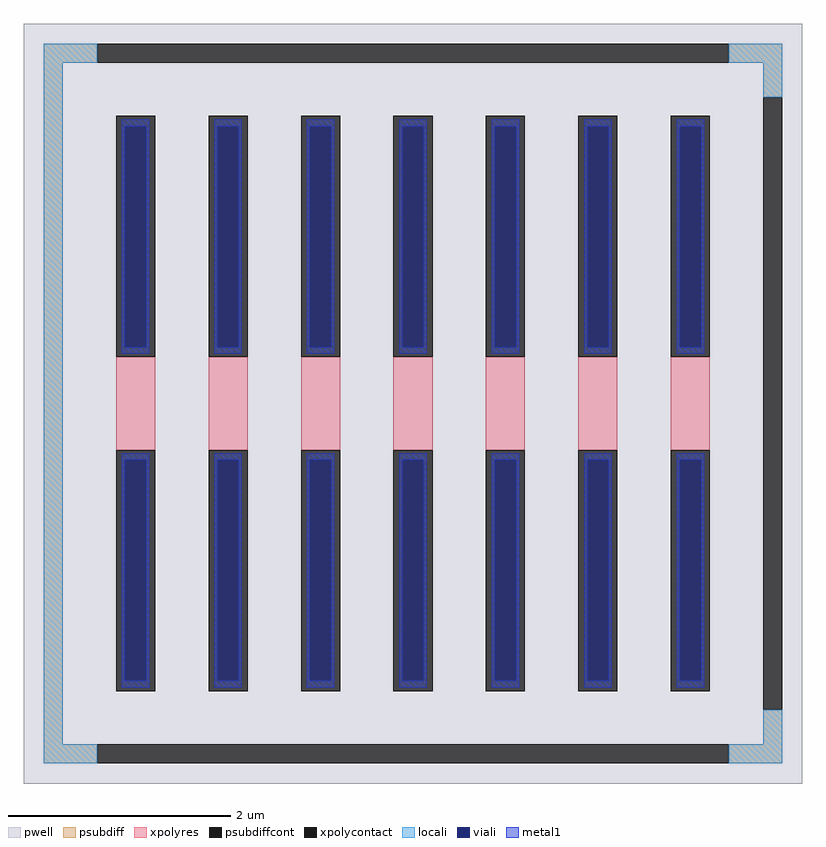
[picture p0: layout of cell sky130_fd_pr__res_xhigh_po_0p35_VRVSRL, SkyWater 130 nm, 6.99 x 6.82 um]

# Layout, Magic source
magic
tech sky130A
magscale 1 2
<< pwell >>
rect -699 -682 699 682
<< psubdiff >>
rect -663 612 -567 646
rect 567 612 663 646
rect -663 -612 -629 612
rect 629 550 663 612
rect 629 -612 663 -550
rect -663 -646 -567 -612
rect 567 -646 663 -612
<< psubdiffcont >>
rect -567 612 567 646
rect 629 -550 663 550
rect -567 -646 567 -612
<< xpolycontact >>
rect -533 84 -463 516
rect -533 -516 -463 -84
rect -367 84 -297 516
rect -367 -516 -297 -84
rect -201 84 -131 516
rect -201 -516 -131 -84
rect -35 84 35 516
rect -35 -516 35 -84
rect 131 84 201 516
rect 131 -516 201 -84
rect 297 84 367 516
rect 297 -516 367 -84
rect 463 84 533 516
rect 463 -516 533 -84
<< xpolyres >>
rect -533 -84 -463 84
rect -367 -84 -297 84
rect -201 -84 -131 84
rect -35 -84 35 84
rect 131 -84 201 84
rect 297 -84 367 84
rect 463 -84 533 84
<< locali >>
rect -663 612 -567 646
rect 567 612 663 646
rect -663 -612 -629 612
rect 629 550 663 612
rect 629 -612 663 -550
rect -663 -646 -567 -612
rect 567 -646 663 -612
<< viali >>
rect -517 101 -479 498
rect -351 101 -313 498
rect -185 101 -147 498
rect -19 101 19 498
rect 147 101 185 498
rect 313 101 351 498
rect 479 101 517 498
rect -517 -498 -479 -101
rect -351 -498 -313 -101
rect -185 -498 -147 -101
rect -19 -498 19 -101
rect 147 -498 185 -101
rect 313 -498 351 -101
rect 479 -498 517 -101
<< metal1 >>
rect -523 498 -473 510
rect -523 101 -517 498
rect -479 101 -473 498
rect -523 89 -473 101
rect -357 498 -307 510
rect -357 101 -351 498
rect -313 101 -307 498
rect -357 89 -307 101
rect -191 498 -141 510
rect -191 101 -185 498
rect -147 101 -141 498
rect -191 89 -141 101
rect -25 498 25 510
rect -25 101 -19 498
rect 19 101 25 498
rect -25 89 25 101
rect 141 498 191 510
rect 141 101 147 498
rect 185 101 191 498
rect 141 89 191 101
rect 307 498 357 510
rect 307 101 313 498
rect 351 101 357 498
rect 307 89 357 101
rect 473 498 523 510
rect 473 101 479 498
rect 517 101 523 498
rect 473 89 523 101
rect -523 -101 -473 -89
rect -523 -498 -517 -101
rect -479 -498 -473 -101
rect -523 -510 -473 -498
rect -357 -101 -307 -89
rect -357 -498 -351 -101
rect -313 -498 -307 -101
rect -357 -510 -307 -498
rect -191 -101 -141 -89
rect -191 -498 -185 -101
rect -147 -498 -141 -101
rect -191 -510 -141 -498
rect -25 -101 25 -89
rect -25 -498 -19 -101
rect 19 -498 25 -101
rect -25 -510 25 -498
rect 141 -101 191 -89
rect 141 -498 147 -101
rect 185 -498 191 -101
rect 141 -510 191 -498
rect 307 -101 357 -89
rect 307 -498 313 -101
rect 351 -498 357 -101
rect 307 -510 357 -498
rect 473 -101 523 -89
rect 473 -498 479 -101
rect 517 -498 523 -101
rect 473 -510 523 -498
<< properties >>
string FIXED_BBOX -646 -629 646 629
string gencell sky130_fd_pr__res_xhigh_po_0p35
string library sky130
string parameters w 0.350 l 1 m 1 nx 7 wmin 0.350 lmin 0.50 rho 2000 val 6.789k dummy 0 dw 0.0 term 188.2 sterm 0.0 caplen 0 wmax 0.350 guard 1 glc 0 grc 1 gtc 1 gbc 1 compatible {sky130_fd_pr__res_xhigh_po_0p35  sky130_fd_pr__res_xhigh_po_0p69 sky130_fd_pr__res_xhigh_po_1p41  sky130_fd_pr__res_xhigh_po_2p85 sky130_fd_pr__res_xhigh_po_5p73} snake 0 full_metal 1 n_guard 0 hv_guard 0 vias 1 viagb 0 viagt 0 viagl 0 viagr 0
<< end >>
